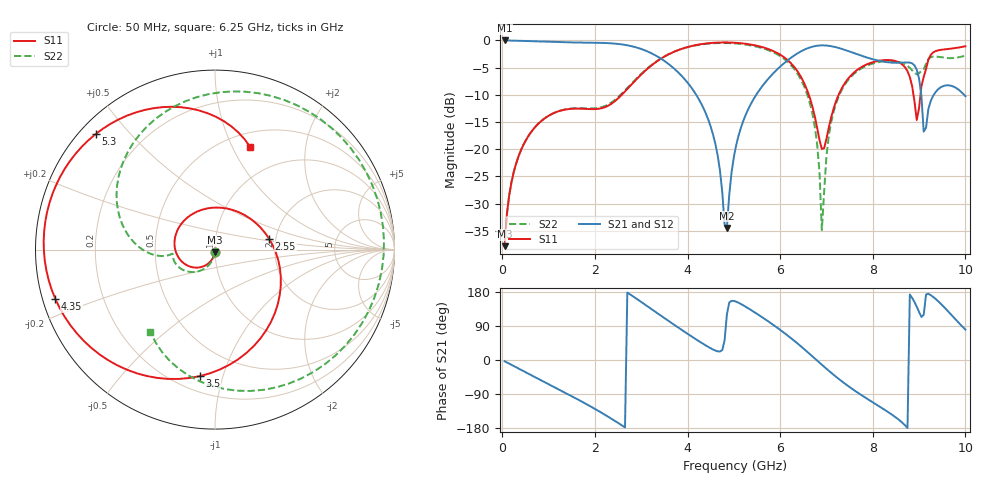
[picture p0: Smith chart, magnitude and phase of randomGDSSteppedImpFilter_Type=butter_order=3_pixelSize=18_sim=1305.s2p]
! freq	dB(S11)	phase(S11)	dB(S12)	phase(S12)
!  dB(S21)	phase(S21)	dB(S22)	phase(S22)
!S-par simulation data
#  GHz  S  DB  R 50
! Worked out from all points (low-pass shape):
!   200 points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, 50 MHz to 10 GHz, reference 50 ohm
!   highest |S21| = -0.01 dB at 50 MHz (marker M1); lowest = -34.5 dB at 4.85 GHz (marker M2)
!   |S21| within 3 dB of the highest: start of sweep to 3.36 GHz; 6.263 GHz to 7.823 GHz (1.56 GHz wide, 22.2 % of centre)
!   lowest |S11| = -37.8 dB at 50 MHz (marker M3), VSWR 1.03, Z = 49.9 - j1.28 ohm
!   |S11| at or under -10 dB: start of sweep to 2.58 GHz; 6.618 GHz to 7.263 GHz (644.8 MHz wide, 9.29 % of centre); 8.879 GHz to 9.03 GHz (151.5 MHz wide, 1.69 % of centre)
!   |S22| runs from -37.8 to -0.5 dB; largest |S21 - S12| = 0
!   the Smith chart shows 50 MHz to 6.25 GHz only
!   S11 on the Smith chart (normalised r, x): 50 MHz: 1.00, -0.03; 2.55 GHz: 1.84, +0.25; 3.5 GHz: 0.30, -0.84; 4.35 GHz: 0.04, -0.15; 5.3 GHz: 0.04, +0.40; 6.25 GHz: 0.65, +1.17
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0.05  -37.83 -93.5  -0.01 -3.3  -0.01 -3.3  -37.82 -92.7
0.5  -18.49 -126.7  -0.11 -32.1  -0.11 -32.1  -18.48 -118.4
1.75  -12.57 126.8  -0.39 -112.0  -0.39 -112.0  -12.47 -171.7
2.55  -10.25 11.6  -0.70 -169.9  -0.70 -169.9  -10.03 -173.7
3.4  -3.50 -87.7  -3.21 119.2  -3.21 119.2  -3.45 143.1
3.5  -2.97 -96.9  -3.77 110.7  -3.77 110.7  -2.94 135.3
4.35  -0.62 -162.8  -12.56 41.7  -12.56 41.7  -0.68 60.4
4.85  -0.37 164.3  -34.46 120.3  -34.46 120.3  -0.48 12.6
5.05  -0.44 151.7  -19.30 153.9  -19.30 153.9  -0.57 -6.9
5.3  -0.67 136.0  -12.84 137.3  -12.84 137.3  -0.82 -31.4
5.75  -1.60 106.9  -6.99 101.3  -6.99 101.3  -1.81 -76.1
6.25  -4.35 71.3  -3.08 56.1  -3.08 56.1  -4.71 -128.3
6.7  -12.30 44.6  -1.15 9.2  -1.15 9.2  -13.63 -177.7
6.9  -19.96 79.0  -0.91 -12.5  -0.91 -12.5  -34.86 -150.0
7.05  -16.04 128.3  -0.99 -28.4  -0.99 -28.4  -17.58 -48.2
7.25  -10.24 130.1  -1.35 -48.5  -1.35 -48.5  -10.59 -66.5
8.35  -3.61 61.1  -4.04 -138.9  -4.04 -138.9  -3.79 -162.5
8.95  -14.64 45.6  -5.39 140.5  -5.39 140.5  -6.23 151.5
9.1  -6.70 82.3  -16.77 119.0  -16.77 119.0  -5.29 146.1
9.4  -1.85 52.0  -9.07 156.5  -9.07 156.5  -3.00 91.4
9.75  -1.45 31.0  -8.51 112.1  -8.51 112.1  -3.24 9.8
10  -1.08 20.0  -10.26 80.3  -10.26 80.3  -2.80 -47.9
